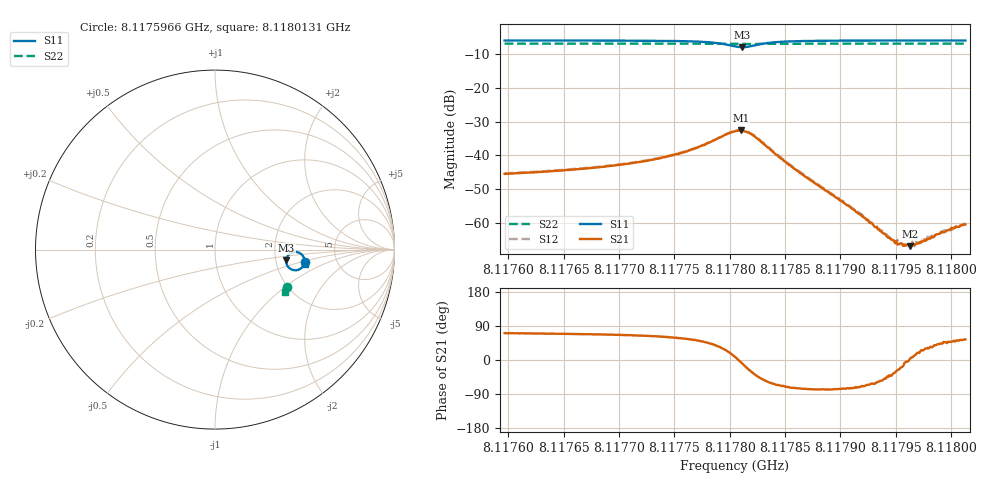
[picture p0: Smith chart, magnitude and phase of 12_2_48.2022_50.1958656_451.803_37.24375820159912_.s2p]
#  HZ  S  RI  R  50.00
! Rohde & Schwarz Vector Network Analyzer
! Rohde-Schwarz,ZNB20-2Port,1311601062101988,3.16
! Created: UTC 3/20/2024, 11:36:35 AM
! freq[Hz]  re:S11  im:S11  re:S21  im:S21  re:S12  im:S12  re:S22  im:S22
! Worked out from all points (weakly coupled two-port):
!   401 points, 8.1175966 GHz to 8.1180131 GHz, reference 50 ohm
!   highest |S21| = -32.61 dB at 8.11781 GHz (marker M1); lowest = -66.8 dB at 8.1179631 GHz (marker M2)
!   lowest |S11| = -7.9 dB at 8.1178111 GHz (marker M3), VSWR 2.34, Z = 114 - j16.2 ohm
!   |S11| at or under -10 dB: nowhere
!   |S22| runs from -7.0 to -6.9 dB; largest |S21 - S12| = 0.00066
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8.11759662e9  0.5004 -0.0672  0.00174 0.00503  0.00185 0.00511  0.4017 -0.2083
8.11766637e9  0.4979 -0.0766  0.00233 0.00586  0.00243 0.00596  0.3995 -0.2129
8.11770802e9  0.4947 -0.0847  0.00309 0.00686  0.00322 0.00694  0.3981 -0.2157
8.11773613e9  0.4901 -0.0927  0.00425 0.00797  0.00434 0.00806  0.3967 -0.2177
8.11777048e9  0.4741 -0.1078  0.00811 0.0101  0.00826 0.0103  0.3948 -0.2202
8.11779235e9  0.4382 -0.1144  0.016 0.00996  0.0162 0.0102  0.3924 -0.2214
8.11780484e9  0.4028 -0.0891  0.0225 0.00327  0.0231 0.00335  0.3907 -0.2206
8.11781005e9  0.3963 -0.0649  0.0233 -0.00228  0.0236 -0.00205  0.3906 -0.2196
8.11781109e9  0.3966 -0.0595  0.0229 -0.00345  0.0235 -0.00328  0.3905 -0.2195
8.11781629e9  0.4055 -0.0353  0.0203 -0.00841  0.0207 -0.00861  0.3912 -0.2187
8.11782254e9  0.4267 -0.0174  0.0151 -0.0117  0.0156 -0.012  0.392 -0.2186
8.11784232e9  0.4768 -0.0223  0.00412 -0.0092  0.00447 -0.00954  0.3939 -0.2204
8.1178746e9  0.4955 -0.046  0.000906 -0.00403  0.000936 -0.00413  0.3935 -0.2239
8.11791728e9  0.4991 -0.0615  0.000424 -0.00128  0.000437 -0.00135  0.3922 -0.2271
8.11794435e9  0.4995 -0.0673  0.000457 -0.000383  0.000463 -0.000397  0.3913 -0.2289
8.11795164e9  0.4994 -0.0686  0.000428 -0.000218  0.0005 -0.000257  0.3908 -0.2295
8.11795685e9  0.4994 -0.0695  0.000439 -0.000129  0.000472 -0.000111  0.3908 -0.2298
8.11796309e9  0.4994 -0.0705  0.000454 2.96e-05  0.000487 1.39e-05  0.3904 -0.2302
8.11797246e9  0.4993 -0.072  0.000479 0.000212  0.000464 0.000194  0.3902 -0.2309
8.11799328e9  0.4991 -0.0751  0.00049 0.000538  0.000541 0.000542  0.3895 -0.2321
8.11799849e9  0.4992 -0.0757  0.000529 0.000591  0.000534 0.000592  0.3895 -0.2325
8.11801307e9  0.4989 -0.0777  0.000555 0.000771  0.000587 0.000762  0.389 -0.2335
